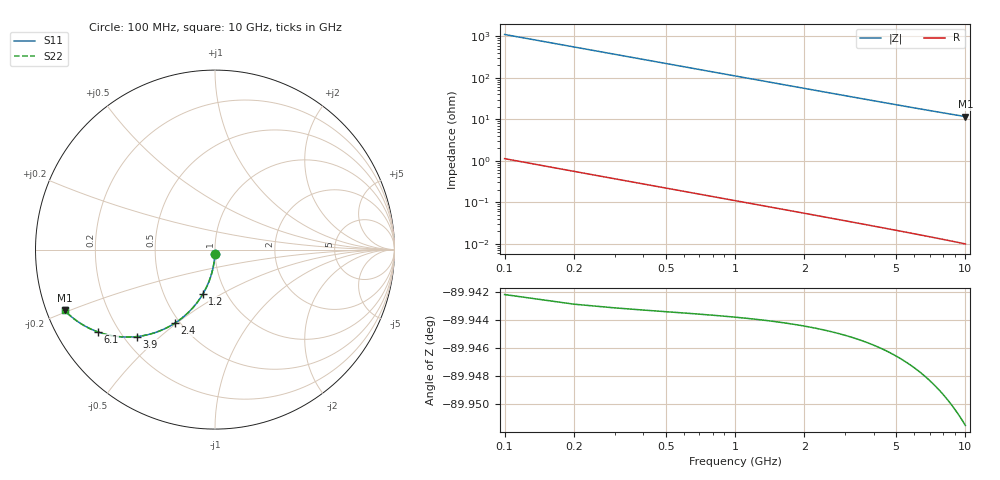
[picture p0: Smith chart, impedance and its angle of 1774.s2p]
# Hz S RI R 50.00
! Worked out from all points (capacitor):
!   100 points, 100 MHz to 10 GHz, reference 50 ohm
!   read as one part in shunt: C = 1.43 pF near 100 MHz
!   lowest |Z| = 11.7 ohm at 10 GHz (marker M1)
!   S11 on the Smith chart (normalised r, x): 100 MHz: 1.00, -0.04; 1.2 GHz: 0.78, -0.41; 2.4 GHz: 0.47, -0.49; 3.9 GHz: 0.25, -0.42; 6.1 GHz: 0.12, -0.31; 10 GHz: 0.05, -0.19
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1e8  -0.000468 -0.0221  0.9994 -0.0227  0.9994 -0.0227  -0.000468 -0.0221
2e8  -0.002 -0.0442  0.9979 -0.0453  0.9979 -0.0453  -0.002 -0.0442
3e8  -0.00451 -0.0662  0.9954 -0.0678  0.9954 -0.0678  -0.00451 -0.0662
4e8  -0.00801 -0.0879  0.9919 -0.0901  0.9919 -0.0901  -0.00801 -0.0879
5e8  -0.0125 -0.1094  0.9874 -0.1121  0.9874 -0.1121  -0.0125 -0.1094
6e8  -0.0179 -0.1305  0.982 -0.1338  0.982 -0.1338  -0.0179 -0.1305
7e8  -0.0241 -0.1513  0.9757 -0.1551  0.9757 -0.1551  -0.0241 -0.1513
9e8  -0.0393 -0.1914  0.9606 -0.1963  0.9606 -0.1963  -0.0393 -0.1914
1.2e9  -0.0677 -0.2476  0.9321 -0.2542  0.9321 -0.2542  -0.0677 -0.2476
1.5e9  -0.1019 -0.298  0.8979 -0.3062  0.8979 -0.3062  -0.1019 -0.298
1.8e9  -0.1404 -0.3421  0.8594 -0.3519  0.8594 -0.3519  -0.1404 -0.3421
2.1e9  -0.1819 -0.3796  0.8179 -0.3911  0.8179 -0.3911  -0.1819 -0.3796
2.4e9  -0.2251 -0.4107  0.7747 -0.4238  0.7747 -0.4238  -0.2251 -0.4107
2.9e9  -0.2979 -0.4489  0.7018 -0.4649  0.7018 -0.4649  -0.2979 -0.4489
3.4e9  -0.3686 -0.4726  0.6311 -0.4913  0.6311 -0.4913  -0.3686 -0.4726
3.9e9  -0.4346 -0.4845  0.565 -0.506  0.565 -0.506  -0.4346 -0.4845
5.1e9  -0.5687 -0.4805  0.4308 -0.5089  0.4308 -0.5089  -0.5687 -0.4805
6.1e9  -0.6543 -0.4579  0.345 -0.492  0.345 -0.492  -0.6543 -0.4579
6.7e9  -0.6959 -0.4405  0.3033 -0.4781  0.3033 -0.4781  -0.6959 -0.4405
7.5e9  -0.7421 -0.4155  0.2569 -0.4579  0.2569 -0.4579  -0.7421 -0.4155
8.4e9  -0.7837 -0.3869  0.215 -0.4346  0.215 -0.4346  -0.7837 -0.3869
1e10  -0.8381 -0.3383  0.1601 -0.3957  0.1601 -0.3957  -0.8381 -0.3383
